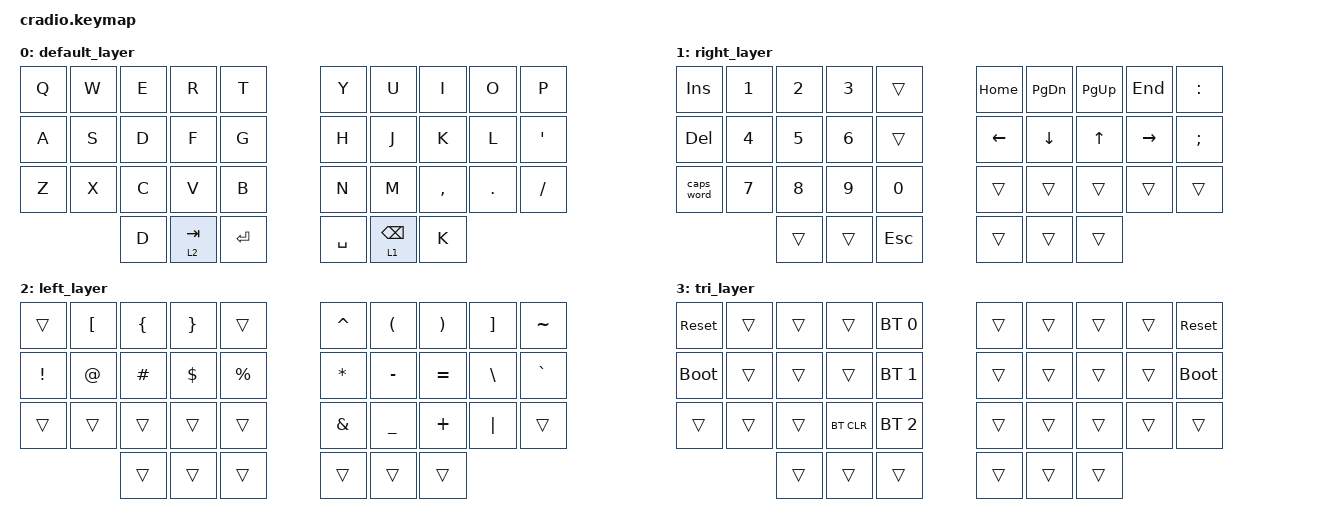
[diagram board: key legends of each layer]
 // Copyright (c) 2022 The ZMK Contributors
// SPDX-License-Identifier: MIT

#include <behaviors.dtsi>
#include <dt-bindings/zmk/keys.h>
#include <dt-bindings/zmk/bt.h>

// Home row mods macro
#define HRML(k1,k2,k3,k4) &ht LSHFT k1  &ht LALT k2  &ht LCTRL k3  &ht LGUI k4
#define HRMR(k1,k2,k3,k4) &ht RGUI k1  &ht RCTRL k2  &ht RALT k3  &ht RSHFT k4


// &default_transform {
//        columns = <36>;
//        map = <
//        RC(0,0)  RC(0,1)  RC(0,2)  RC(0,3)  RC(0,4)    RC(0,22) RC(0,21) RC(0,20) RC(0,19) RC(0,18)
//        RC(0,5)  RC(0,6)  RC(0,7)  RC(0,8)  RC(0,9)    RC(0,27) RC(0,26) RC(0,25) RC(0,24) RC(0,23)
//        RC(0,10) RC(0,11) RC(0,12) RC(0,13) RC(0,14)   RC(0,32) RC(0,31) RC(0,30) RC(0,29) RC(0,28)
//                          RC(0,15) RC(0,16) RC(0,17)   RC(0,35) RC(0,34) RC(0,33) 
//        >;
// };


&kscan0 {
    input-gpios
        = <&pro_micro  7 (GPIO_ACTIVE_LOW | GPIO_PULL_UP)>
        , <&pro_micro 18 (GPIO_ACTIVE_LOW | GPIO_PULL_UP)>
        , <&pro_micro 19 (GPIO_ACTIVE_LOW | GPIO_PULL_UP)>
        , <&pro_micro 20 (GPIO_ACTIVE_LOW | GPIO_PULL_UP)>
        , <&pro_micro 21 (GPIO_ACTIVE_LOW | GPIO_PULL_UP)>
        , <&pro_micro 15 (GPIO_ACTIVE_LOW | GPIO_PULL_UP)>
        , <&pro_micro 14 (GPIO_ACTIVE_LOW | GPIO_PULL_UP)>
        , <&pro_micro 16 (GPIO_ACTIVE_LOW | GPIO_PULL_UP)>
        , <&pro_micro 10 (GPIO_ACTIVE_LOW | GPIO_PULL_UP)>
        , <&pro_micro  1 (GPIO_ACTIVE_LOW | GPIO_PULL_UP)>
        , <&pro_micro  2 (GPIO_ACTIVE_LOW | GPIO_PULL_UP)>
        , <&pro_micro  3 (GPIO_ACTIVE_LOW | GPIO_PULL_UP)>
        , <&pro_micro  4 (GPIO_ACTIVE_LOW | GPIO_PULL_UP)>
        , <&pro_micro  5 (GPIO_ACTIVE_LOW | GPIO_PULL_UP)>
        , <&pro_micro  6 (GPIO_ACTIVE_LOW | GPIO_PULL_UP)>
        , <&pro_micro  0 (GPIO_ACTIVE_LOW | GPIO_PULL_UP)>    // added zero
        , <&pro_micro  8 (GPIO_ACTIVE_LOW | GPIO_PULL_UP)>
        , <&pro_micro  9 (GPIO_ACTIVE_LOW | GPIO_PULL_UP)>
        ;
};



/ {
    behaviors {
        ht: hold_tap {
            compatible = "zmk,behavior-hold-tap";
            #binding-cells = <2>;
            flavor = "tap-preferred";
            tapping-term-ms = <220>;
            quick-tap-ms = <150>;
            require-prior-idle-ms = <100>;
            bindings = <&kp>, <&kp>;
        };
    };

    conditional_layers {
        compatible = "zmk,conditional-layers";
        tri_layer {
            if-layers = <1 2>;
            then-layer = <3>;
        };
    };

    keymap {
        compatible = "zmk,keymap";
        default_layer {
            bindings = <
        //╭──────────┬──────────┬──────────┬──────────┬──────────╮   ╭──────────┬──────────┬──────────┬──────────┬──────────╮
        //│  Q       │  W       │  E       │  R       │  T       │   │  Y       │  U       │  I       │  O       │  P       │
            &kp Q      &kp W      &kp E      &kp R      &kp T          &kp Y      &kp U      &kp I      &kp O      &kp P
        //├──────────┼──────────┼──────────┼──────────┼──────────┤   ├──────────┼──────────┼──────────┼──────────┼──────────┤
        //│  A       │  S       │  D       │  F       │  G       │   │  H       │  J       │  K       │  L       │ ' "      │
            &kp A      &kp S      &kp D      &kp F      &kp G          &kp H      &kp J      &kp K       &kp L      &kp SQT 
        //├──────────┼──────────┼──────────┼──────────┼──────────┤   ├──────────┼──────────┼──────────┼──────────┼──────────┤
        //│  Z       │  X       │  C       │  V       │  B       │   │  N       │  M       │ , <      │ . >      │ / ?      │
            &kp Z      &kp X      &kp C      &kp V      &kp B          &kp N      &kp M      &kp COMMA  &kp DOT    &kp FSLH
        //╰──────────┴──────────┴──────────┼──────────┼──────────┤   ├──────────┼──────────┼──────────┴──────────┴──────────╯
                                  &kp D     &lt 2 TAB   &kp ENTER     &kp SPACE  &lt 1 BSPC   &kp K
        //                      ╰──────────┴──────────┴──────────╯   ╰──────────┴──────────┴──────────╯
            >;
        };

        right_layer {
            bindings = <
        //╭──────────┬──────────┬──────────┬──────────┬──────────╮   ╭──────────┬──────────┬──────────┬──────────┬──────────╮
        //│ INSERT   │  1       │  2       │  3       │          │   │ HOME     │ PAGE DN  │ PAGE UP  │ END      │  :       │
            &kp INS    &kp N1     &kp N2     &kp N3     &trans         &kp HOME   &kp PG_DN  &kp PG_UP  &kp END    &kp COLON
        //├──────────┼──────────┼──────────┼──────────┼──────────┤   ├──────────┼──────────┼──────────┼──────────┼──────────┤
        //│ DELETE   │  4       │  5       │  6       │          │   │ LEFT     │ DOWN     │ UP       │ RIGHT    │  ;       │
            &kp DEL    &kp N4     &kp N5     &kp N6     &trans         &kp LEFT   &kp DOWN   &kp UP   &kp RIGHT   &kp SEMI
        //├──────────┼──────────┼──────────┼──────────┼──────────┤   ├──────────┼──────────┼──────────┼──────────┼──────────┤
        //│ CAPS     │  7       │  8       │  9       │  0       │   │          │          │          │          │          │
           &caps_word  &kp N7     &kp N8     &kp N9     &kp N0         &trans     &trans     &trans     &trans     &trans
        //╰──────────┴──────────┴──────────┼──────────┼──────────┤   ├──────────┼──────────┼──────────┴──────────┴──────────╯
                                   &trans   &trans     &kp ESC        &trans     &trans      &trans 
        //                      ╰──────────┴──────────┴──────────╯   ╰──────────┴──────────┴──────────╯
            >;
        };

        left_layer {
            bindings = <
        //╭──────────┬──────────┬──────────┬──────────┬──────────╮   ╭──────────┬──────────┬──────────┬──────────┬──────────╮
        //│          │  [       │  {       │  }       │          │   │  ^       │  (       │  )       │  ]       │  ~       │
            &trans     &kp LBKT   &kp LBRC   &kp RBRC   &trans         &kp CARET  &kp LPAR   &kp RPAR   &kp RBKT   &kp TILDE
        //├──────────┼──────────┼──────────┼──────────┼──────────┤   ├──────────┼──────────┼──────────┼──────────┼──────────┤
        //│  !       │  @       │  #       │  $       │  %       │   │  *       │  -       │  =       │  \       │  `       │
            &kp EXCL   &kp AT     &kp HASH   &kp DLLR   &kp PRCNT      &kp ASTRK  &kp MINUS  &kp EQUAL  &kp BSLH   &kp GRAVE
        //├──────────┼──────────┼──────────┼──────────┼──────────┤   ├──────────┼──────────┼──────────┼──────────┼──────────┤
        //│          │          │          │          │          │   │  &       │  _       │  +       │  │       │          │
            &trans     &trans     &trans     &trans     &trans         &kp AMPS   &kp UNDER  &kp PLUS   &kp PIPE   &trans
        //╰──────────┴──────────┴──────────┼──────────┼──────────┤   ├──────────┼──────────┼──────────┴──────────┴──────────╯
                                  &trans     &trans     &trans         &trans     &trans     &trans 
        //                      ╰──────────┴──────────┴──────────╯   ╰──────────┴──────────┴──────────╯
            >;
        };

        tri_layer {
            bindings = <
        //╭──────────┬──────────┬──────────┬──────────┬──────────╮   ╭──────────┬──────────┬──────────┬──────────┬──────────╮
        //│ RESET    │          │          │          │PROFILE 0 │   │          │          │          │          │  RESET   │
           &sys_reset  &trans     &trans     &trans    &bt BT_SEL 0    &trans     &trans     &trans     &trans    &sys_reset
        //├──────────┼──────────┼──────────┼──────────┼──────────┤   ├──────────┼──────────┼──────────┼──────────┼──────────┤
        //│BOOTLOADER│          │          │          │PROFILE 1 │   │          │          │          │          │BOOTLOADER│
          &bootloader  &trans     &trans     &trans    &bt BT_SEL 1    &trans     &trans     &trans     &trans    &bootloader
        //├──────────┼──────────┼──────────┼──────────┼──────────┤   ├──────────┼──────────┼──────────┼──────────┼──────────┤
        //│          │          │          │ CLEAR BT │PROFILE 2 │   │          │          │          │          │          │
            &trans     &trans     &trans    &bt BT_CLR &bt BT_SEL 2    &trans     &trans     &trans     &trans     &trans
        //╰──────────┴──────────┴──────────┼──────────┼──────────┤   ├──────────┼──────────┼──────────┴──────────┴──────────╯
                                  &trans     &trans     &trans         &trans     &trans     &trans 
        //                      ╰──────────┴──────────┴──────────╯   ╰──────────┴──────────┴──────────╯
            >;
        };
    };
};
